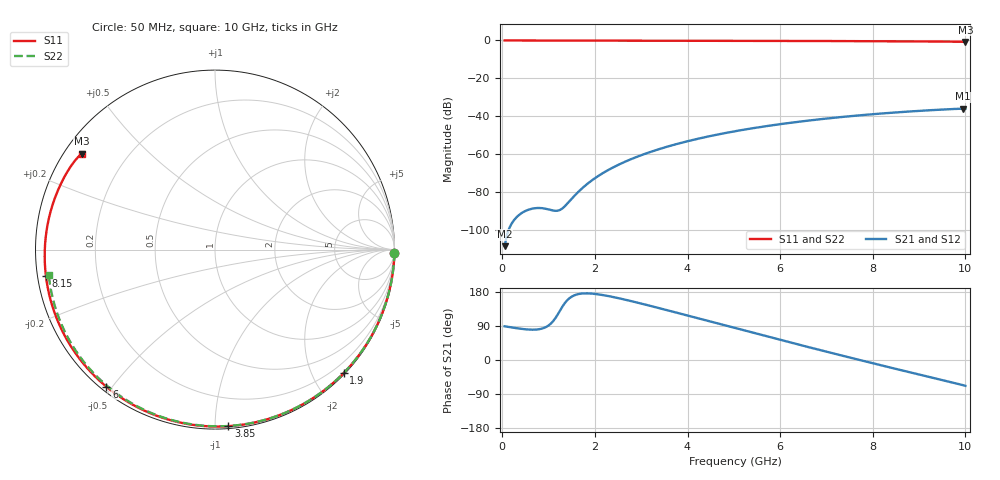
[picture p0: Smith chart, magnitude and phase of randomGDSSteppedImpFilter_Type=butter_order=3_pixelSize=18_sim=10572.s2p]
! freq	dB(S11)	phase(S11)	dB(S12)	phase(S12)
!  dB(S21)	phase(S21)	dB(S22)	phase(S22)
!S-par simulation data
#  GHz  S  DB  R 50
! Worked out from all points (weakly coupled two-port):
!   200 points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, 50 MHz to 10 GHz, reference 50 ohm
!   highest |S21| = -35.93 dB at 9.95 GHz (marker M1); lowest = -108.4 dB at 50 MHz (marker M2)
!   lowest |S11| = -0.8 dB at 10 GHz (marker M3), VSWR 22.70, Z = 2.43 + j16.1 ohm
!   |S11| at or under -10 dB: nowhere
!   |S22| runs from -0.6 to 0.0 dB; largest |S21 - S12| = 0
!   S11 on the Smith chart (normalised r, x): 50 MHz: 0, -96; 1.9 GHz: 0.02, -2.49; 3.85 GHz: 0.01, -1.08; 6 GHz: 0.02, -0.48; 8.15 GHz: 0.02, -0.08; 10 GHz: 0.05, +0.32
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0.05  -0.00 -1.2  -108.38 89.0  -108.38 89.0  -0.00 -1.0
0.8  -0.02 -18.7  -88.27 81.3  -88.27 81.3  -0.02 -15.7
1.6  -0.05 -37.1  -80.78 172.6  -80.78 172.6  -0.04 -31.1
1.65  -0.05 -38.2  -79.56 174.2  -79.56 174.2  -0.04 -32.1
1.75  -0.05 -40.5  -77.32 175.7  -77.32 175.7  -0.04 -34.0
1.9  -0.06 -43.8  -74.35 175.5  -74.35 175.5  -0.05 -36.8
2.2  -0.06 -50.5  -69.48 170.8  -69.48 170.8  -0.05 -42.5
2.55  -0.07 -58.2  -65.01 162.1  -65.01 162.1  -0.06 -49.0
2.95  -0.09 -66.8  -60.91 150.5  -60.91 150.5  -0.07 -56.3
3.4  -0.10 -76.3  -57.15 136.5  -57.15 136.5  -0.09 -64.4
3.85  -0.12 -85.7  -54.03 122.1  -54.03 122.1  -0.10 -72.3
4.45  -0.14 -97.9  -50.57 102.8  -50.57 102.8  -0.12 -82.6
5.05  -0.17 -109.8  -47.72 83.5  -47.72 83.5  -0.14 -92.6
6  -0.22 -128.4  -44.10 53.2  -44.10 53.2  -0.19 -108.1
6.7  -0.28 -142.0  -41.96 31.3  -41.96 31.3  -0.23 -119.1
7.45  -0.34 -156.9  -40.04 8.1  -40.04 8.1  -0.29 -130.9
8.15  -0.41 -171.3  -38.56 -13.1  -38.56 -13.1  -0.35 -141.8
8.35  -0.44 -175.5  -38.18 -19.1  -38.18 -19.1  -0.37 -144.9
9.25  -0.55 164.4  -36.74 -45.7  -36.74 -45.7  -0.47 -159.2
9.65  -0.61 154.6  -36.22 -57.4  -36.22 -57.4  -0.52 -165.6
9.95  -0.72 146.0  -35.93 -66.5  -35.93 -66.5  -0.56 -170.6
10  -0.77 144.3  -35.94 -68.1  -35.94 -68.1  -0.57 -171.4
